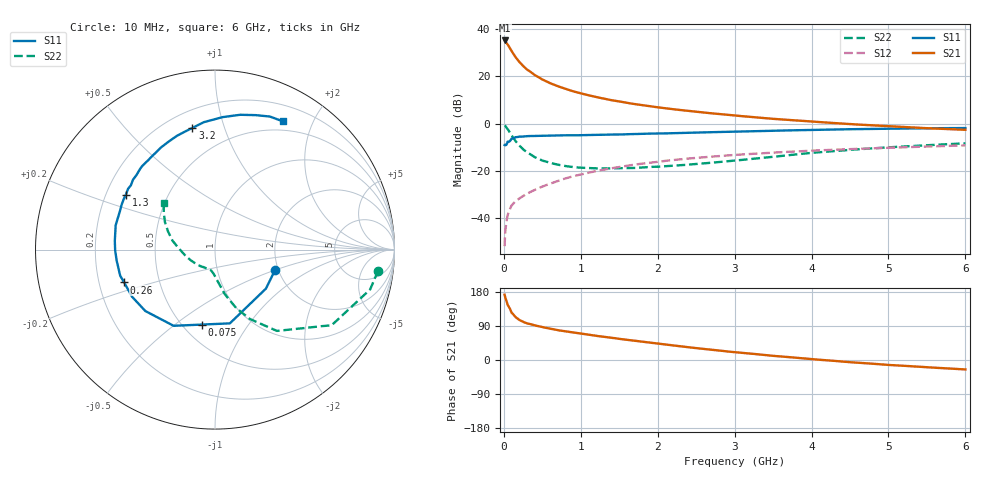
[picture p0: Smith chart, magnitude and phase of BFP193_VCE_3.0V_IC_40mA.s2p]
! Infineon Technologies  Discrete & RF Semiconductors
! BFP193
! VCE = 3.0 V,  IC =  40 mA
! Common Emitter S-Parameters:  Jan 2016
# GHz  S  MA  R  50
!  f  S11  S21  S12  S22
! GHz  MAG  ANG  MAG  ANG  MAG  ANG  MAG  ANG
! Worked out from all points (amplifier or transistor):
!   210 points, 10 MHz to 6 GHz, reference 50 ohm
!   highest |S21| = 35.1 dB at 10 MHz (marker M1)
!   |S21| within 3 dB of that: start of sweep to 73.59 MHz
!   unconditionally stable (mu >= 1): 557.4 MHz to 3.825 GHz
!   at 185 MHz: K = 0.66, MSG = 29.4 dB, |S12| = -31.9 dB
!   at 1.52 GHz: K = 1.07, MAG = 12.1 dB, |S12| = -18.2 dB
!   at 6 GHz: K = 0.94, MSG = 3.3 dB, |S12| = -9.2 dB
!   S11 on the Smith chart (normalised r, x): 10 MHz: 1.91, -0.51; 75 MHz: 0.62, -0.63; 260 MHz: 0.31, -0.16; 1.3 GHz: 0.28, +0.26; 3.2 GHz: 0.30, +0.79; 6 GHz: 0.39, +1.59
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0.01  0.3534 -19.1  57.05 172.3  0.0026 81.4  0.9159 -7.4
0.02  0.3574 -37.5  54.8 163.8  0.0056 77.4  0.8925 -14.4
0.05  0.4192 -78.6  47.04 145.3  0.0118 67.1  0.7749 -32.9
0.075  0.4242 -100.0  40.02 136.8  0.0152 61.6  0.6624 -41.3
0.1  0.4831 -118.5  34.23 125.1  0.0187 58.1  0.5695 -52.7
0.15  0.5175 -138.6  25.58 113.2  0.0229 54.5  0.4327 -63.3
0.2  0.5318 -150.5  20.22 105.8  0.0263 55.4  0.3472 -70.0
0.26  0.538 -160.1  15.97 100.0  0.0303 56.8  0.2795 -75.1
0.3  0.5479 -164.6  13.95 96.8  0.0332 58.2  0.25 -77.9
0.4  0.5513 -173.6  10.67 91.3  0.0399 60.4  0.1972 -82.6
0.5  0.5563 -179.5  8.564 86.7  0.047 61.9  0.1667 -86.4
0.6  0.5602 175.1  7.174 82.6  0.054 62.8  0.1487 -89.7
0.7  0.5635 170.3  6.183 78.7  0.0617 63.1  0.1365 -92.8
0.9  0.5693 162.4  4.819 72.5  0.0776 62.9  0.1211 -98.4
1.02  0.5715 157.9  4.28 68.9  0.0861 62.4  0.1173 -101.8
1.3  0.5829 148.4  3.371 61.1  0.1073 59.9  0.1131 -110.2
2.02  0.6202 127.9  2.196 42.9  0.1588 51.8  0.1242 -134.2
3.1  0.6838 102.4  1.44 18.8  0.2241 37.9  0.1723 -170.6
3.2  0.6899 100.5  1.394 17.0  0.2293 36.7  0.1786 -173.5
4.1  0.7436 85.1  1.082 0.7  0.2739 25.9  0.2495 165.9
5.1  0.7859 72.1  0.869 -14.1  0.3143 14.8  0.3238 149.8
6  0.8082 62.2  0.742 -24.9  0.3482 5.1  0.3849 137.8
